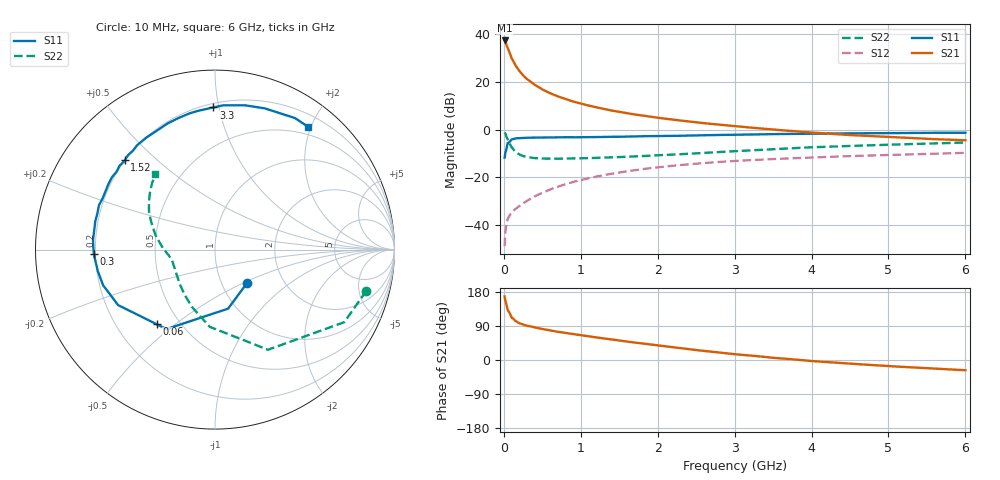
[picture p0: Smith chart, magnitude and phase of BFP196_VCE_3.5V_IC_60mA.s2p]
! Infineon Technologies  Discrete & RF Semiconductors
! BFP196
! VCE = 3.5 V,  IC =  60mA
! Common Emitter S-Parameters:  Jan 2016
# GHz  S  MA  R  50
!  f  S11  S21  S12  S22
! GHz  MAG  ANG  MAG  ANG  MAG  ANG  MAG  ANG
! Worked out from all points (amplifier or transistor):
!   210 points, 10 MHz to 6 GHz, reference 50 ohm
!   highest |S21| = 37.4 dB at 10 MHz (marker M1)
!   |S21| within 3 dB of that: start of sweep to 47.86 MHz
!   unconditionally stable (mu >= 1): 433 MHz to 4.499 GHz; 4.503 GHz to 4.919 GHz
!   at 185 MHz: K = 0.76, MSG = 28.9 dB, |S12| = -32.4 dB
!   at 1.52 GHz: K = 1.08, MAG = 10.9 dB, |S12| = -17.9 dB
!   at 6 GHz: K = 0.98, MSG = 2.6 dB, |S12| = -9.8 dB
!   S11 on the Smith chart (normalised r, x): 10 MHz: 1.32, -0.52; 60 MHz: 0.37, -0.43; 300 MHz: 0.19, -0.02; 1.52 GHz: 0.20, +0.40; 3.3 GHz: 0.23, +0.96; 6 GHz: 0.37, +1.95
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0.01  0.258 -46.2  73.75 167.8  0.0036 79.4  0.8735 -15.3
0.02  0.337 -77.5  68.94 155.7  0.0072 69.7  0.826 -29.3
0.05  0.5189 -121.4  51.3 131.6  0.0134 54.2  0.6313 -62.1
0.06  0.5276 -127.9  47.07 129.0  0.0144 53.1  0.5801 -66.6
0.1  0.6221 -150.2  31.73 112.2  0.0182 49.7  0.4312 -93.9
0.15  0.6543 -162.3  22.23 102.9  0.0216 51.2  0.3437 -112.1
0.2  0.6639 -169.6  17.03 97.2  0.0249 53.9  0.3025 -124.2
0.24  0.6675 -173.5  14.33 94.2  0.0277 56.4  0.2832 -131.4
0.26  0.6702 -175.2  13.22 92.8  0.0291 57.3  0.2765 -134.6
0.3  0.6762 -178.0  11.47 90.4  0.0319 58.5  0.2671 -139.4
0.4  0.6816 175.5  8.685 85.9  0.0397 61.9  0.2529 -148.6
0.5  0.6817 171.2  6.94 81.9  0.0471 63.0  0.2471 -154.5
0.6  0.6852 166.8  5.793 78.1  0.0556 63.8  0.2456 -158.6
0.8  0.6922 159.1  4.363 71.5  0.0714 63.2  0.2467 -164.1
1.02  0.6927 150.9  3.438 64.9  0.0892 61.6  0.2497 -168.2
1.52  0.7075 135.2  2.335 51.0  0.1279 55.4  0.2667 -174.9
2.02  0.7324 120.9  1.754 38.1  0.1629 48.0  0.29 178.2
3.1  0.7826 94.7  1.14 13.6  0.2241 32.0  0.3588 162.2
3.3  0.7919 90.7  1.068 10.0  0.2325 29.1  0.3733 159.2
4.1  0.8227 76.7  0.846 -4.0  0.2638 19.2  0.4312 148.6
5.1  0.8441 63.2  0.687 -17.2  0.297 8.0  0.487 137.7
6  0.8586 52.9  0.597 -27.0  0.3252 -1.9  0.5344 128.4
